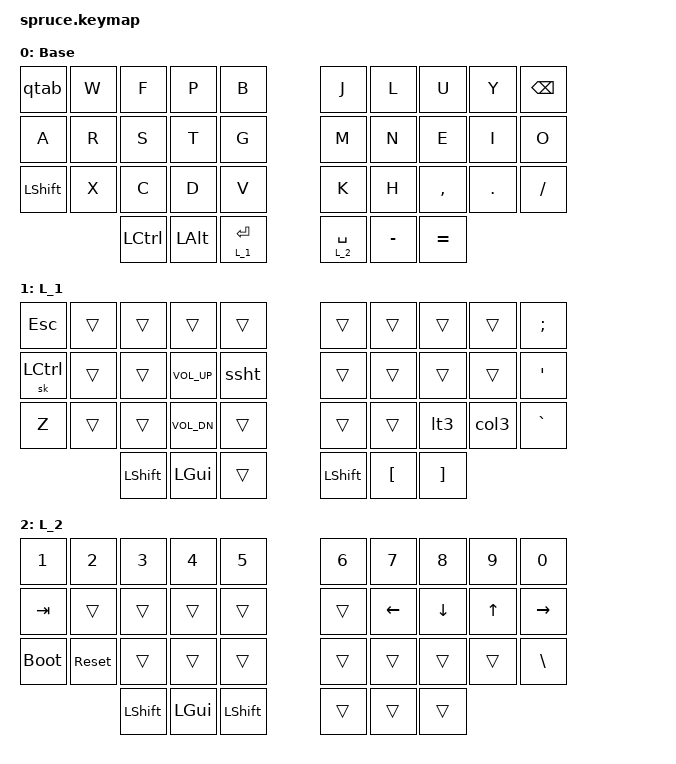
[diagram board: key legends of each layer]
/*
 * Copyright (c) 2020 The ZMK Contributors
 *
 * SPDX-License-Identifier: MIT
 */

#include <behaviors.dtsi>
#include <dt-bindings/zmk/keys.h>
#include <dt-bindings/zmk/bt.h>
#include <dt-bindings/zmk/backlight.h>

#define L_1 1
#define L_2 2

&lt { quick_tap_ms = <170>; };

/ {
    behaviors {
        qtab: q_alt_tab {
            compatible = "zmk,behavior-mod-morph";
            #binding-cells = <0>;
            bindings = <&kp Q>, <&kp TAB>;
            mods = <(MOD_LALT)>;
            keep-mods = <(MOD_LALT)>;
        };
        lt3: less_than_three {
            compatible = "zmk,behavior-macro";
            #binding-cells = <0>;
            bindings
                = <&macro_press &kp LSHFT>
                , <&macro_tap &kp COMMA>
                , <&macro_release &kp LSHFT>
                , <&macro_press &kp N3>
                , <&macro_release &kp N3>
                ;
        };
        col3: colon_three {
            compatible = "zmk,behavior-macro";
            #binding-cells = <0>;
            bindings
                = <&macro_press &kp LSHFT>
                , <&macro_tap &kp SEMI>
                , <&macro_release &kp LSHFT>
                , <&macro_press &kp N3>
                , <&macro_release &kp N3>
                ;
        };
        ssht: screenshot {
            compatible = "zmk,behavior-macro";
            #binding-cells = <0>;
            bindings
                = <&macro_press &kp LGUI>
                , <&macro_press &kp LSHFT>
                , <&macro_tap &kp S>
                , <&macro_release &kp LSHFT>
                , <&macro_release &kp LGUI>
                ;
        };
    };

    keymap {
        compatible = "zmk,keymap";


        base_layer {
            label = "Base";
            bindings = <
       &qtab     &kp W  &kp F      &kp P    &kp B         &kp J         &kp L     &kp U     &kp Y   &kp BKSP
       &kp A     &kp R  &kp S      &kp T    &kp G         &kp M         &kp N     &kp E     &kp I   &kp O   
       &kp LSHFT &kp X  &kp C      &kp D    &kp V         &kp K         &kp H     &kp COMMA &kp DOT &kp SLASH     
                        &kp LCTRL  &kp LALT &lt L_1 ENTER &lt L_2 SPACE &kp MINUS &kp EQUAL
            >;
        };

        layer_1 {
            label = "L_1";
            bindings = <
       &kp ESC   &trans &trans     &trans       &trans       &trans        &trans    &trans    &trans  &kp SEMI
       &sk LCTRL &trans &trans     &kp C_VOL_UP &ssht        &trans        &trans    &trans    &trans  &kp SQT
       &kp Z     &trans &trans     &kp C_VOL_DN &trans       &trans        &trans    &lt3      &col3   &kp GRAVE
                        &kp LSHFT  &kp LGUI     &trans       &kp LSHFT     &kp LBKT  &kp RBKT
            >;
        };

        layer_2 {
            label = "L_2";
            bindings = <
       &kp N1      &kp N2     &kp N3     &kp N4    &kp N5        &kp N6       &kp N7    &kp N8    &kp N9  &kp N0
       &kp TAB     &trans     &trans     &trans    &trans        &trans       &kp LEFT  &kp DOWN  &kp UP  &kp RIGHT
       &bootloader &sys_reset &trans     &trans    &trans        &trans       &trans    &trans    &trans  &kp BSLH
                              &kp LSHFT  &kp LGUI  &kp LSHFT     &trans       &trans    &trans
            >;
        };
    };
};
